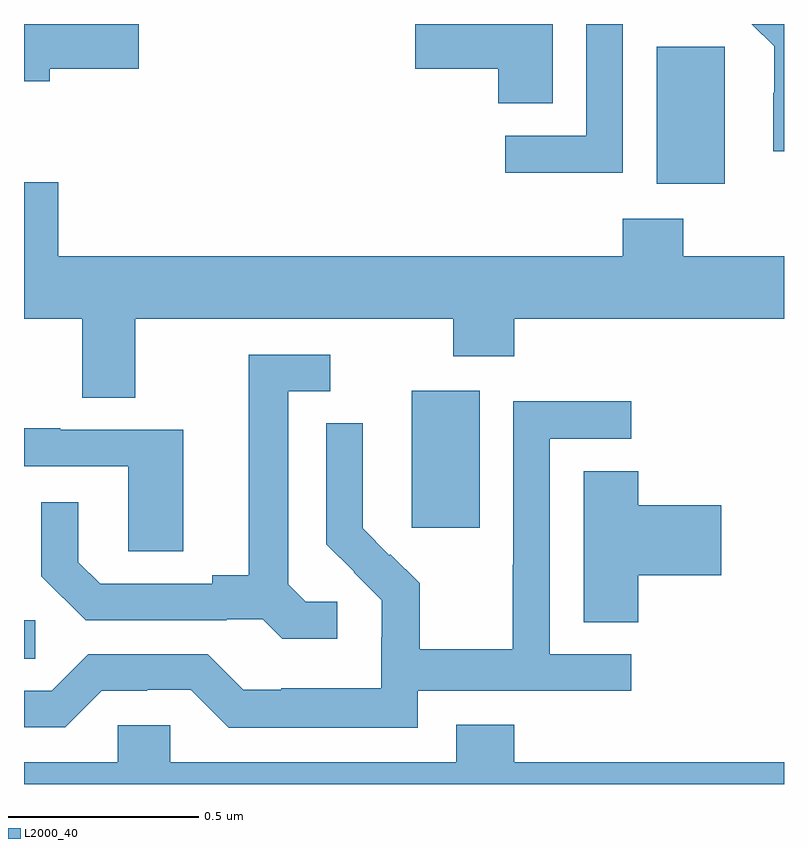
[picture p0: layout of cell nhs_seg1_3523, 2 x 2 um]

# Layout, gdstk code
import gdstk
lib = gdstk.Library(unit=1e-6, precision=1e-09)
def R(c, l, rs):  # rectangles x0, y0, x1, y1
    for r in rs: c.add(gdstk.rectangle(r[:2], r[2:], *l))
def P(c, l, *ps):  # polygons
    for p in ps: c.add(gdstk.Polygon(p, *l))
L2000_40 = (2000, 40)

nhs_seg1_3523 = lib.new_cell('nhs_seg1_3523')
R(nhs_seg1_3523, L2000_40, [(155,525.529,155.029,525.63), (156.02,525.873,156.199,526.234), (156.665,526.778,156.844,527.139)])
P(nhs_seg1_3523, L2000_40, [(156.391,527.199),(156.03,527.199),(156.03,527.081),(156.248,527.081),(156.248,526.99),(156.391,526.99)],
  [(157,527.199),(156.915,527.199),(156.974,527.141),(156.974,527.018),(156.972,527.018),(156.972,526.864),(157,526.864)],
  [(156.576,527.199),(156.48,527.199),(156.48,526.905),(156.267,526.905),(156.267,526.807),(156.576,526.807)],
  [(155.068,527.081),(155.302,527.081),(155.302,527.199),(155,527.199),(155,527.048),(155.068,527.048)],
  [(155.293,526.424),(156.13,526.424),(156.13,526.325),(156.29,526.325),(156.29,526.424),(157,526.424),(157,526.588),(156.735,526.588),(156.735,526.687),(156.575,526.687),(156.575,526.588),(155.09,526.588),(155.09,526.783),(155,526.783),(155,526.424),(155.153,526.424),(155.153,526.216),(155.293,526.216)],
  [(155.824,525.678),(155.742,525.678),(155.695,525.725),(155.695,526.233),(155.806,526.233),(155.806,526.329),(155.591,526.329),(155.591,525.749),(155.495,525.749),(155.495,525.726),(155.2,525.726),(155.143,525.783),(155.143,525.94),(155.046,525.94),(155.046,525.746),(155.162,525.63),(155.534,525.63),(155.534,525.633),(155.628,525.633),(155.68,525.581),(155.824,525.581)],
  [(156.036,525.444),(156.598,525.444),(156.598,525.54),(156.384,525.54),(156.384,526.107),(156.598,526.107),(156.598,526.206),(156.288,526.206),(156.288,525.776),(156.286,525.776),(156.286,525.553),(156.041,525.553),(156.041,525.727),(155.964,525.804),(155.961,525.801),(155.891,525.872),(155.891,525.994),(155.892,525.994),(155.892,526.148),(155.796,526.148),(155.796,525.83),(155.869,525.757),(155.868,525.756),(155.942,525.682),(155.942,525.585),(155.94,525.585),(155.94,525.451),(155.677,525.451),(155.677,525.447),(155.577,525.447),(155.484,525.54),(155.169,525.54),(155.073,525.444),(155,525.444),(155,525.348),(155.109,525.348),(155.205,525.444),(155.324,525.444),(155.324,525.447),(155.439,525.447),(155.539,525.347),(156.036,525.347)],
  [(155.419,526.131),(155.095,526.131),(155.095,526.135),(155,526.135),(155,526.035),(155.274,526.035),(155.274,525.811),(155.419,525.811)],
  [(156.617,525.749),(156.835,525.749),(156.835,525.932),(156.617,525.932),(156.617,526.022),(156.473,526.022),(156.473,525.625),(156.617,525.625)],
  [(157,525.256),(156.29,525.256),(156.29,525.355),(156.137,525.355),(156.137,525.256),(155.385,525.256),(155.385,525.354),(155.247,525.354),(155.247,525.256),(155,525.256),(155,525.199),(157,525.199)])

lib.write_gds('nhs_seg1_3523.gds')
